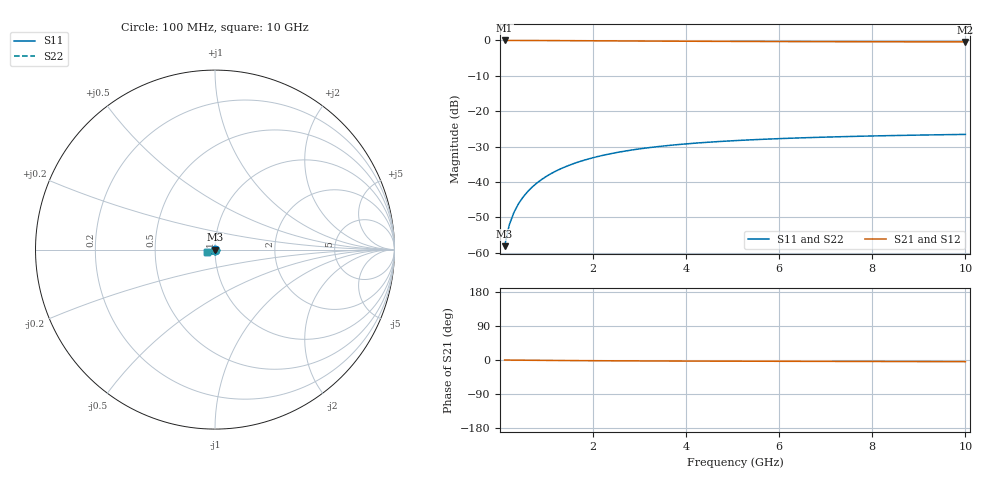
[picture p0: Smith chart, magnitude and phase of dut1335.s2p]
! Touchstone file exported from HFSS 2024.1.0
!  File:  C:/UserFiles/LocalFiles/RDL_TSV_Batchsim/temp_TSV1_1335_1780375832.aedt
!  Generated:  12:56:30 PM Jun  2, 2026
!  Design:  TSV1
!  Project:  temp_TSV1_1335_1780375832
!  Setup:  Setup1
!  Solution:  Sweep
! Variables:
!  dtsv = 11.69um
!  hbump = 3um
!  htsv = 67.18um
!  lrdl = 252.1521522um
!  p = 40
!  p1 = 43.36um
!  t = 500um
!  trdl = 3um
!  wrdl = 24.89489489um
# GHz S MA R 50.000000
! Terminal data exported
! Port[1] = TSV22_T1
! Port[2] = TSV22_T2
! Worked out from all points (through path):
!   100 points, 100 MHz to 10 GHz, reference 50 ohm
!   highest |S21| = 0.00 dB at 100 MHz (marker M1); lowest = -0.4 dB at 10 GHz (marker M2)
!   lowest |S11| = -58.1 dB at 100 MHz (marker M3), VSWR 1.00, Z = 50 - j0.124 ohm
!   |S11| at or under -10 dB: start of sweep to end of sweep
!   |S22| runs from -58.1 to -26.5 dB; largest |S21 - S12| = 4.2e-15
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0.1  0.00124 -87.0  0.9999 -0.1  0.9999 -0.1  0.00124 -87.0
! Gamma 0 0 0 0
! Port Impedance 50 0 50 0
0.2  0.002477 -91.0  0.9998 -0.2  0.9998 -0.2  0.002477 -91.0
0.3  0.003715 -93.3  0.9996 -0.3  0.9996 -0.3  0.003715 -93.3
0.4  0.004947 -95.2  0.9993 -0.4  0.9993 -0.4  0.004947 -95.2
0.5  0.006169 -96.9  0.999 -0.5  0.999 -0.5  0.006169 -96.9
0.6  0.007379 -98.5  0.9987 -0.6  0.9987 -0.6  0.007379 -98.5
0.7  0.008574 -100.1  0.9982 -0.7  0.9982 -0.7  0.008573 -100.1
0.8  0.009751 -101.6  0.9978 -0.8  0.9978 -0.8  0.009751 -101.6
0.9  0.01091 -103.1  0.9972 -0.9  0.9972 -0.9  0.01091 -103.1
1.1  0.01316 -106.1  0.996 -1.1  0.996 -1.1  0.01316 -106.1
1.4  0.01636 -110.2  0.994 -1.4  0.994 -1.4  0.01636 -110.2
1.6  0.01836 -112.9  0.9925 -1.5  0.9925 -1.5  0.01836 -112.9
1.8  0.02025 -115.4  0.991 -1.7  0.991 -1.7  0.02025 -115.4
2.1  0.02289 -119.0  0.9886 -1.9  0.9886 -1.9  0.02289 -119.0
2.5  0.02602 -123.4  0.9855 -2.1  0.9855 -2.1  0.02602 -123.4
2.9  0.02875 -127.4  0.9824 -2.3  0.9824 -2.3  0.02875 -127.4
3.4  0.03167 -131.9  0.9788 -2.6  0.9788 -2.6  0.03167 -131.9
4.2  0.0354 -137.9  0.9737 -2.9  0.9737 -2.9  0.0354 -137.9
5.1  0.03857 -143.5  0.9689 -3.2  0.9689 -3.2  0.03857 -143.5
6.7  0.04251 -151.1  0.9625 -3.6  0.9625 -3.6  0.04251 -151.1
8.4  0.04526 -157.2  0.9579 -4.0  0.9579 -4.0  0.04526 -157.2
10  0.04705 -161.8  0.9548 -4.4  0.9548 -4.4  0.04705 -161.8
